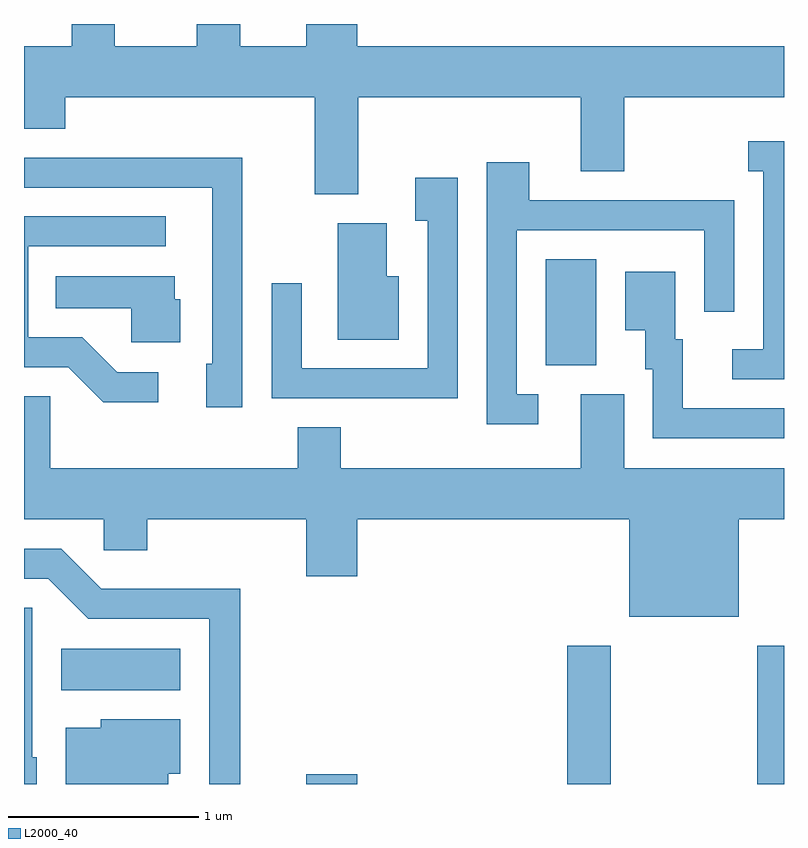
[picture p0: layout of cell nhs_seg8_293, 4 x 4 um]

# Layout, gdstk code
import gdstk
lib = gdstk.Library(unit=1e-6, precision=1e-09)
def R(c, l, rs):  # rectangles x0, y0, x1, y1
    for r in rs: c.add(gdstk.rectangle(r[:2], r[2:], *l))
def P(c, l, *ps):  # polygons
    for p in ps: c.add(gdstk.Polygon(p, *l))
L2000_40 = (2000, 40)

nhs_seg8_293 = lib.new_cell('nhs_seg8_293')
R(nhs_seg8_293, L2000_40, [(195.096,1848.342,195.364,1848.394), (196.471,1848.342,196.699,1849.069), (197.471,1848.342,197.611,1849.069), (193.806,1848.836,194.434,1849.054), (196.356,1850.546,196.624,1851.104)])
P(nhs_seg8_293, L2000_40, [(195.369,1851.956),(196.541,1851.956),(196.541,1851.566),(196.769,1851.566),(196.769,1851.956),(197.611,1851.956),(197.611,1852.224),(195.364,1852.224),(195.364,1852.342),(195.096,1852.342),(195.096,1852.224),(194.749,1852.224),(194.749,1852.342),(194.521,1852.342),(194.521,1852.224),(194.089,1852.224),(194.089,1852.342),(193.861,1852.342),(193.861,1852.224),(193.611,1852.224),(193.611,1851.791),(193.829,1851.791),(193.829,1851.956),(195.141,1851.956),(195.141,1851.446),(195.369,1851.446)],
  [(197.611,1851.724),(197.423,1851.724),(197.423,1851.566),(197.501,1851.566),(197.501,1850.629),(197.338,1850.629),(197.338,1850.471),(197.611,1850.471)],
  [(194.759,1851.639),(193.611,1851.639),(193.611,1851.481),(194.601,1851.481),(194.601,1850.554),(194.571,1850.554),(194.571,1850.326),(194.759,1850.326)],
  [(196.318,1850.394),(196.204,1850.394),(196.204,1851.256),(197.191,1851.256),(197.191,1850.828),(197.349,1850.828),(197.349,1851.414),(196.269,1851.414),(196.269,1851.614),(196.046,1851.614),(196.046,1850.236),(196.318,1850.236)],
  [(195.894,1851.534),(195.671,1851.534),(195.671,1851.306),(195.736,1851.306),(195.736,1850.529),(195.074,1850.529),(195.074,1850.978),(194.916,1850.978),(194.916,1850.371),(195.894,1850.371)],
  [(194.318,1850.509),(194.102,1850.509),(193.917,1850.694),(193.634,1850.694),(193.634,1851.171),(194.358,1851.171),(194.358,1851.329),(193.611,1851.329),(193.611,1850.536),(193.844,1850.536),(194.029,1850.351),(194.318,1850.351)],
  [(195.584,1851.014),(195.519,1851.014),(195.519,1851.294),(195.261,1851.294),(195.261,1850.681),(195.584,1850.681)],
  [(197.611,1850.319),(197.079,1850.319),(197.079,1850.684),(197.039,1850.684),(197.039,1851.039),(196.776,1851.039),(196.776,1850.731),(196.881,1850.731),(196.881,1850.526),(196.921,1850.526),(196.921,1850.161),(197.611,1850.161)],
  [(194.434,1850.894),(194.404,1850.894),(194.404,1851.014),(193.778,1851.014),(193.778,1850.846),(194.176,1850.846),(194.176,1850.666),(194.434,1850.666)],
  [(197.374,1849.736),(197.611,1849.736),(197.611,1850.004),(196.769,1850.004),(196.769,1850.394),(196.541,1850.394),(196.541,1850.004),(195.279,1850.004),(195.279,1850.219),(195.051,1850.219),(195.051,1850.004),(193.749,1850.004),(193.749,1850.384),(193.611,1850.384),(193.611,1849.736),(194.031,1849.736),(194.031,1849.571),(194.259,1849.571),(194.259,1849.736),(195.096,1849.736),(195.096,1849.436),(195.364,1849.436),(195.364,1849.736),(196.796,1849.736),(196.796,1849.221),(197.374,1849.221)],
  [(194.749,1849.369),(194.017,1849.369),(193.807,1849.579),(193.611,1849.579),(193.611,1849.421),(193.739,1849.421),(193.949,1849.211),(194.586,1849.211),(194.586,1848.342),(194.749,1848.342)],
  [(193.679,1848.484),(193.654,1848.484),(193.654,1849.269),(193.611,1849.269),(193.611,1848.342),(193.679,1848.342)],
  [(194.369,1848.396),(194.434,1848.396),(194.434,1848.684),(194.016,1848.684),(194.016,1848.639),(193.831,1848.639),(193.831,1848.342),(194.369,1848.342)])

lib.write_gds('nhs_seg8_293.gds')
